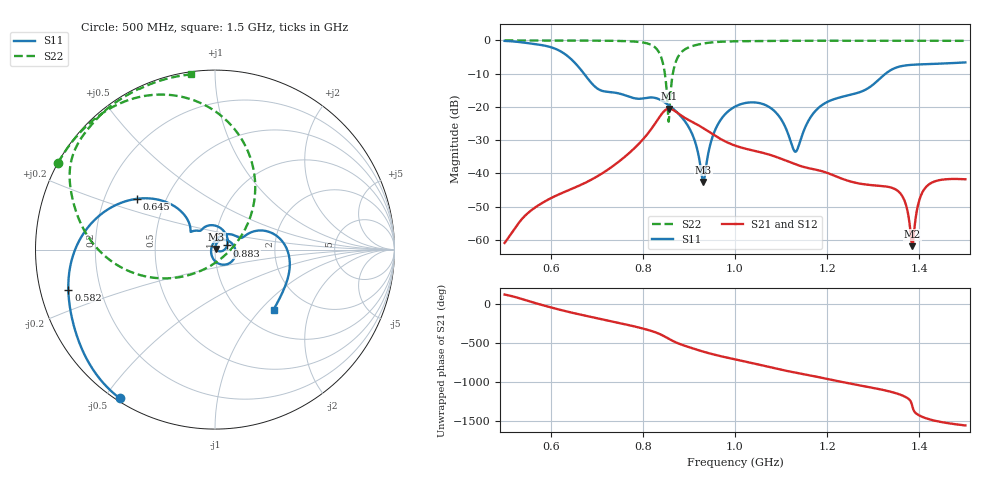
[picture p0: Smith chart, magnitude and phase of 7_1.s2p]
! TOUCHSTONE file generated by CST MICROWAVE STUDIO
! Date and time: Mon Oct 26 12:05:03 2020
! Project name: Scenario_1_Circular_Tissue_out_of_Line_v2.cst
! Parameters = {dy1=-242.2; L_HA=400; MT=2.54; Rad_Dielectric=30; Rad_Lower=7.3; Rad_Upper=30; a_HA=580; a_WG=246; b_HA=500; b_WG=121; c_HA=0; c_WG=187; d_feed=85; dx1=173; h_feed=15; h_lower=18; h_upper=40}
! Header version: 2018
! Port assignment regex: !\s*Touchstone port\s*([0-9]+)\s*=\s*(CST MWS port|CST DS port)\s*([0-9]+|Zmin|Zmax)\s*\(\"(.*)\"\)(\s*mode\s*([0-9]+))?.*
! Touchstone port assignment:
! Touchstone port 1 = CST MWS port 1 ("")
! Touchstone port 2 = CST MWS port 2 ("")
# GHz S DB R 50
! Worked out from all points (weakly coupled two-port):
!   1003 points, 500 MHz to 1.5 GHz, reference 50 ohm
!   highest |S21| = -20.49 dB at 857 MHz (marker M1); lowest = -61.8 dB at 1.385 GHz (marker M2)
!   lowest |S11| = -42.5 dB at 931 MHz (marker M3), VSWR 1.02, Z = 50.7 + j0.325 ohm
!   |S11| at or under -10 dB: 672.3 MHz to 1.327 GHz (654.4 MHz wide, 65.5 % of centre)
!   |S22| runs from -24.4 to 0.0 dB; largest |S21 - S12| = 3.5e-05
!   S11 on the Smith chart (normalised r, x): 500 MHz: 0.01, -0.55; 582 MHz: 0.08, -0.13; 645 MHz: 0.34, +0.26; 883 MHz: 1.14, +0.05; 1.5 GHz: 1.38, -1.18
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0.5  -0.14 -122.6  -60.88 115.8  -60.88 115.8  -0.01 151.1
0.582  -1.44 -164.7  -48.82 -18.8  -48.82 -18.8  -0.02 145.4
0.645  -5.70 146.9  -44.67 -114.1  -44.67 -114.1  -0.03 140.4
0.667  -9.06 134.2  -43.32 -143.3  -43.32 -143.3  -0.04 138.3
0.781  -17.36 129.4  -32.49 70.2  -32.49 70.2  -0.33 120.0
0.834  -17.61 86.5  -23.46 -21.2  -23.46 -21.2  -3.34 80.9
0.857  -19.56 54.9  -20.49 -91.1  -20.49 -91.1  -23.14 -83.3
0.867  -20.69 41.1  -20.98 -121.9  -20.98 -121.9  -8.66 -154.7
0.883  -22.89 18.9  -22.55 -160.9  -22.55 -160.9  -3.64 179.3
0.91  -29.13 -16.0  -24.69 146.1  -24.69 146.1  -1.59 161.5
0.931  -42.54 25.5  -26.36 108.0  -26.36 108.0  -0.94 154.4
0.958  -26.58 68.6  -28.76 65.1  -28.76 65.1  -0.49 147.6
1  -19.90 19.2  -31.60 9.3  -31.60 9.3  -0.26 140.2
1.078  -20.37 -61.5  -34.49 -93.5  -34.49 -93.5  -0.15 131.8
1.131  -33.47 172.5  -37.22 -159.9  -37.22 -159.9  -0.10 127.1
1.167  -22.48 71.1  -38.62 159.9  -38.62 159.9  -0.09 124.2
1.334  -9.27 14.0  -44.06 -38.1  -44.06 -38.1  -0.09 111.5
1.365  -7.62 -5.9  -47.29 -95.9  -47.29 -95.9  -0.09 109.1
1.385  -7.32 -15.9  -61.85 129.2  -61.79 127.8  -0.09 107.5
1.399  -7.21 -21.5  -48.48 16.6  -48.41 16.4  -0.09 106.4
1.415  -7.13 -26.8  -44.00 -23.2  -43.97 -23.4  -0.10 105.1
1.5  -6.61 -45.7  -41.74 -113.9  -41.73 -113.8  -0.13 97.8
